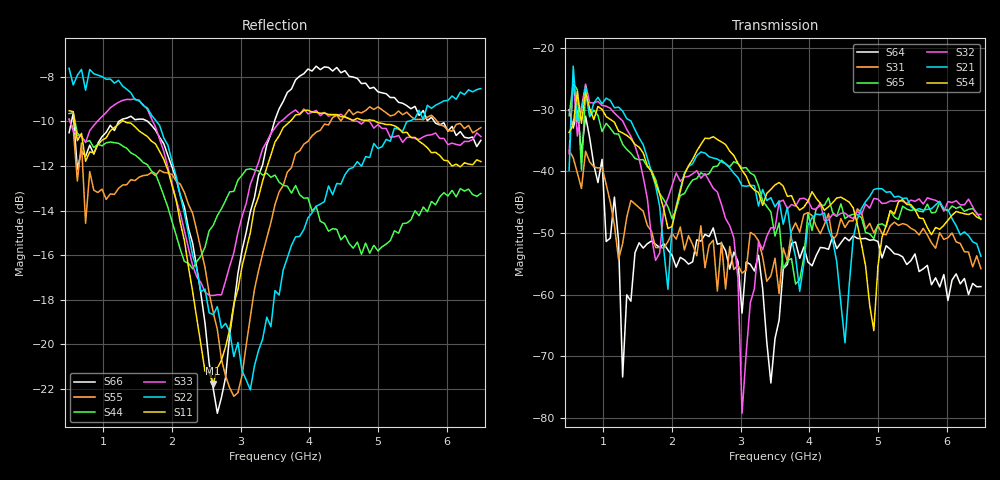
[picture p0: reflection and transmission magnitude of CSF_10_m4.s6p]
!Keysight Technologies,M9804A,MY58100912,A.14.10.03
!Date: Thursday, April 27, 2023 10:28:33
!Correction: S11(C  6-Port  )
!S12(C  6-Port  )
!S13(C  6-Port  )
!S14(C  6-Port  )
!S15(C  6-Port  )
!S16(C  6-Port  )
!S21(C  6-Port  )
!S22(C  6-Port  )
!S23(C  6-Port  )
!S24(C  6-Port  )
!S25(C  6-Port  )
!S26(C  6-Port  )
!S31(C  6-Port  )
!S32(C  6-Port  )
!S33(C  6-Port  )
!S34(C  6-Port  )
!S35(C  6-Port  )
!S36(C  6-Port  )
!S41(C  6-Port  )
!S42(C  6-Port  )
!S43(C  6-Port  )
!S44(C  6-Port  )
!S45(C  6-Port  )
!S46(C  6-Port  )
!S51(C  6-Port  )
!S52(C  6-Port  )
!S53(C  6-Port  )
!S54(C  6-Port  )
!S55(C  6-Port  )
!S56(C  6-Port  )
!S61(C  6-Port  )
!S62(C  6-Port  )
!S63(C  6-Port  )
!S64(C  6-Port  )
!S65(C  6-Port  )
!S66(C  6-Port  )
!S6P File: Measurement: :
# Hz S  RI  R 50
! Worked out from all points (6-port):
!   101 points, 500 MHz to 6.5 GHz, reference 50 ohm
!   strongest paths, dB at 500 MHz, 2 GHz, 3.5 GHz, 5 GHz, 6.5 GHz:
!     S54: -33.7, -49.0, -42.2, -55.4, -47.7
!     S21: -39.9, -49.0, -45.8, -42.8, -53.8
!     S32: -37.2, -42.3, -49.2, -44.5, -47.0
!     S65: -31.0, -47.7, -50.5, -48.7, -47.8
!     S31: -36.6, -50.1, -54.1, -48.8, -55.8
!     S64: -30.0, -53.6, -67.1, -51.4, -58.7
!   lowest |S11| = -21.8 dB at 2.6 GHz (marker M1), VSWR 1.18, Z = 42.7 + j1.95 ohm
!   |S11| at or under -10 dB: 580.2 MHz to 1.265 GHz (685.3 MHz wide, 74.3 % of centre); 1.305 GHz to 3.718 GHz (2.414 GHz wide, 96.1 % of centre); 4.966 GHz to end of sweep
